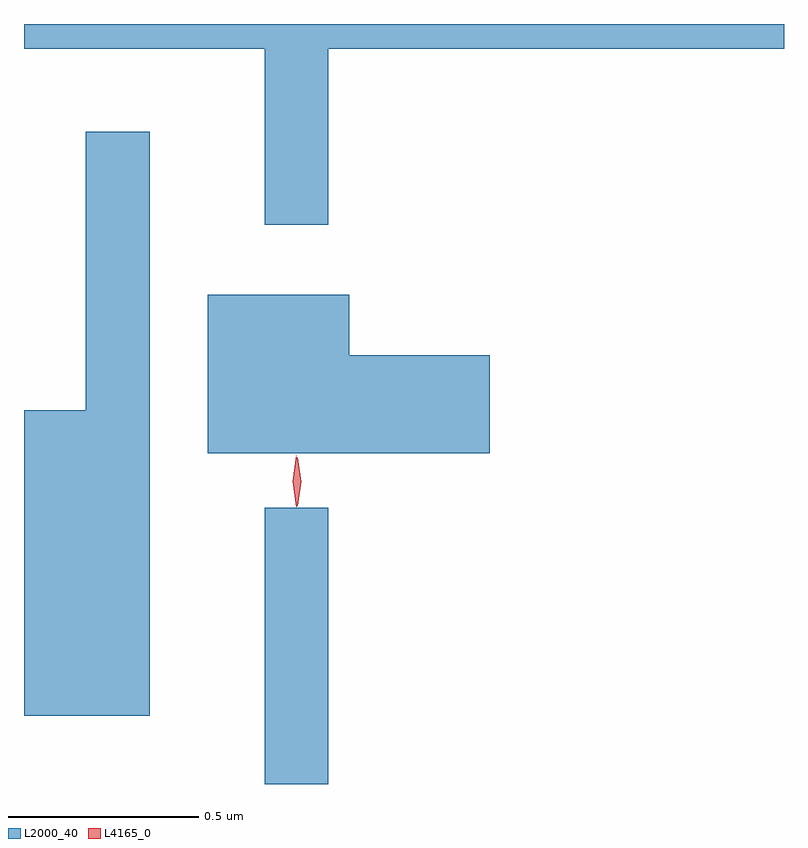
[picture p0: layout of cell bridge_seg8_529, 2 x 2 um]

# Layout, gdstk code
import gdstk
lib = gdstk.Library(unit=1e-6, precision=1e-09)
def R(c, l, rs):  # rectangles x0, y0, x1, y1
    for r in rs: c.add(gdstk.rectangle(r[:2], r[2:], *l))
def P(c, l, *ps):  # polygons
    for p in ps: c.add(gdstk.Polygon(p, *l))
L2000_40 = (2000, 40)
L4165_0 = (4165, 0)

bridge_seg8_529 = lib.new_cell('bridge_seg8_529')
R(bridge_seg8_529, L2000_40, [(271.511,1843.361,271.679,1844.088)])
P(bridge_seg8_529, L2000_40, [(271.679,1845.296),(272.878,1845.296),(272.878,1845.361),(270.878,1845.361),(270.878,1845.296),(271.511,1845.296),(271.511,1844.833),(271.679,1844.833)],
  [(271.209,1845.078),(271.041,1845.078),(271.041,1844.344),(270.878,1844.344),(270.878,1843.541),(271.209,1843.541)],
  [(272.104,1844.489),(271.734,1844.489),(271.734,1844.649),(271.361,1844.649),(271.361,1844.231),(272.104,1844.231)])
P(bridge_seg8_529, L4165_0, [(271.594,1844.09),(271.585,1844.158),(271.594,1844.225),(271.594,1844.226),(271.595,1844.225),(271.604,1844.158),(271.596,1844.09),(271.595,1844.09)],
  [(271.596,1844.093),(271.587,1844.156),(271.596,1844.219),(271.597,1844.22),(271.598,1844.219),(271.607,1844.156),(271.598,1844.093),(271.597,1844.093)])

lib.write_gds('bridge_seg8_529.gds')
